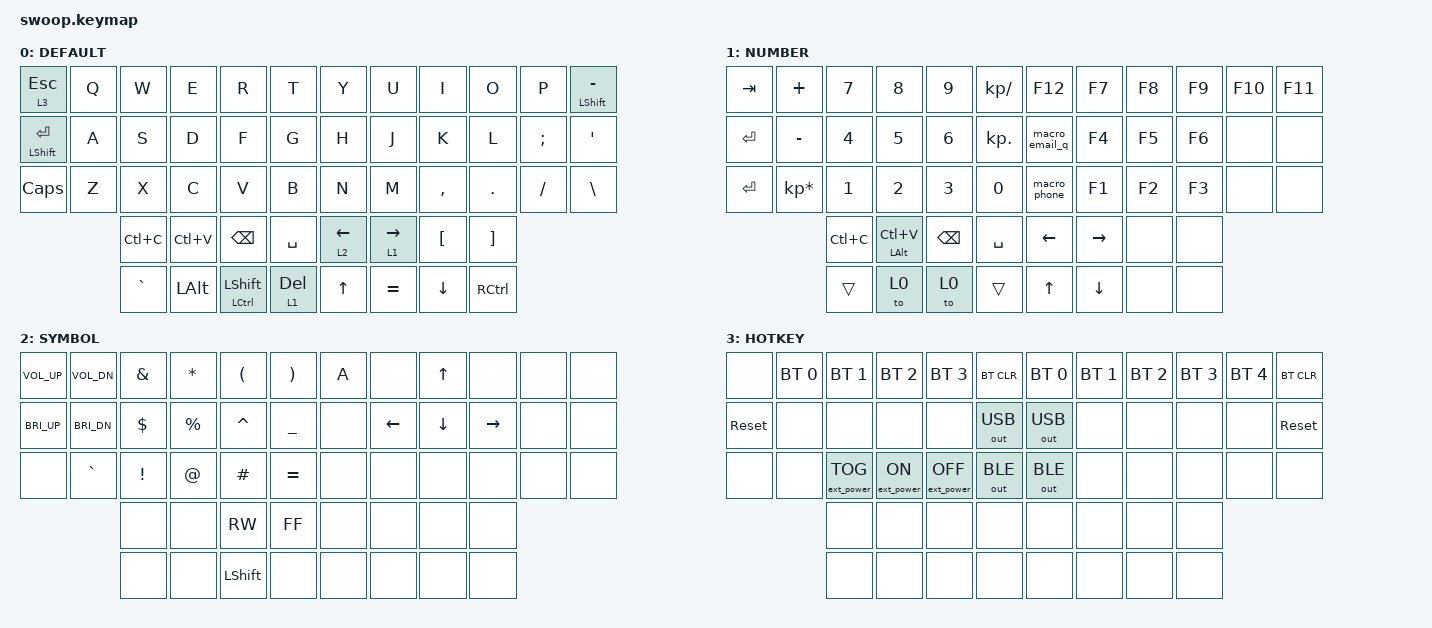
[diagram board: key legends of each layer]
#include <behaviors.dtsi>
#include <dt-bindings/zmk/bt.h>
#include <dt-bindings/zmk/ext_power.h>
#include <dt-bindings/zmk/keys.h>
#include <dt-bindings/zmk/outputs.h>

#define DEFAULT 0
#define NUMBER  1
#define SYMBOL  2
#define HOTKEY  3

#define AS(keycode) &as LS(keycode) keycode

/ {
    behaviors {
        td0: tap_dance_0 {
            compatible = "zmk,behavior-tap-dance";
            label = "TAP_DANCE_0";
            #binding-cells = <0>;
            tapping-term-ms = <200>;
            bindings = <&kp ESC>, <&kp TAB>;
        };
    };

    behaviors {
        as: auto_shift {
            compatible = "zmk,behavior-hold-tap";
            label = "AUTO_SHIFT";
            #binding-cells = <2>;
            tapping-term-ms = <200>;
            quick-tap-ms = <0>;
            flavor = "tap-preferred";
            bindings = <&kp>, <&kp>;
        };

        modcp: mod_copy {
            compatible = "zmk,behavior-mod-morph";
            label = "MOD_COPY";
            #binding-cells = <0>;
            bindings = <&as LS(C) C>, <&kp C>;

            mods = <(LGUI | RGUI)>;
        };
    };

    macros {
        macro_phone: macro_phone {
            // 1351

            label = "MACRO_PHONE";
            compatible = "zmk,behavior-macro";
            #binding-cells = <0>;
            bindings = <&kp N1 &kp N3 &kp N5 &kp N1>;
        };

        macro_email_q: macro_email_q {
            // 2894512440@qq.com

            label = "MACRO_EMAIL_QQ";
            compatible = "zmk,behavior-macro";
            #binding-cells = <0>;
            bindings = <&kp N2 &kp N8 &kp N9 &kp N4 &kp N5 &kp N1 &kp N2 &kp N4 &kp N4 &kp N0 &kp AT &kp Q &kp Q &kp DOT &kp C &kp O &kp M>;
        };

        macro_email_g: macro_email_g {
            // 135115

            compatible = "zmk,behavior-macro";
            label = "MACRO_EMAIL_GMAIL";
            #binding-cells = <0>;
            bindings = <&kp N1 &kp N3 &kp N5 &kp N1 &kp N1 &kp N5>;
        };
    };

    combos {
        compatible = "zmk,combos";

        combo_00 {
            timeout-ms = <50>;
            key-positions = <>;
            bindings = <&kp  LSHFT>;
        };

        combo_11 {
            timeout-ms = <40>;
            key-positions = <>;
            bindings = <&mo 2>;
        };

        combo_22 {
            timeout-ms = <50>;
            key-positions = <>;
            bindings = <&kp EXCL>;
        };

        combo_33 {
            timeout-ms = <50>;
            key-positions = <>;
            bindings = <&kp AT>;
        };

        combo_44 {
            timeout-ms = <50>;
            key-positions = <>;
            bindings = <&kp HASH>;
        };
    };

    keymap {
        compatible = "zmk,keymap";

        default_layer {
            label = "DEFAULT";
            bindings = <
&lt 3 ESC             &kp Q  &kp W      &kp E      &kp R            &kp T      &kp Y       &kp U        &kp I      &kp O      &kp P     &mt LEFT_SHIFT MINUS
&mt LEFT_SHIFT ENTER  &kp A  &kp S      &kp D      &kp F            &kp G      &kp H       &kp J        &kp K      &kp L      &kp SEMI  &kp SQT
&kp CAPS              &kp Z  &kp X      &kp C      &kp V            &kp B      &kp N       &kp M        &kp COMMA  &kp DOT    &kp FSLH  &kp BSLH
                             &kp LC(C)  &kp LC(V)  &kp BSPC         &kp SPACE  &lt 2 LEFT  &lt 1 RIGHT  &kp LBKT   &kp RBKT
                             &kp GRAVE  &kp LALT   &mt LCTRL LSHFT  &lt 1 DEL  &kp UP      &kp EQUAL    &kp DOWN   &kp RCTRL
            >;
        };

        number_layer {
            label = "NUMBER";
            bindings = <
&kp TAB    &kp PLUS         &kp N7     &kp N8          &kp N9    &kp KP_SLASH  &kp F12         &kp F7     &kp F8  &kp F9  &kp F10  &kp F11
&kp ENTER  &kp MINUS        &kp N4     &kp N5          &kp N6    &kp KP_DOT    &macro_email_q  &kp F4     &kp F5  &kp F6  &none    &none
&kp ENTER  &kp KP_MULTIPLY  &kp N1     &kp N2          &kp N3    &kp N0        &macro_phone    &kp F1     &kp F2  &kp F3  &none    &none
                            &kp LC(C)  &mt LALT LC(V)  &kp BSPC  &kp SPACE     &kp LEFT        &kp RIGHT  &none   &none
                            &trans     &to 0           &to 0     &trans        &kp UP          &kp DOWN   &none   &none
            >;
        };

        symbol_layer {
            label = "SYMBOL";
            bindings = <
&kp C_VOL_UP  &kp C_VOL_DN  &kp AMPS  &kp STAR   &kp LPAR   &kp RPAR   &kp A  &none     &kp UP    &none      &none  &none
&kp C_BRI_UP  &kp C_BRI_DN  &kp DLLR  &kp PRCNT  &kp CARET  &kp UNDER  &none  &kp LEFT  &kp DOWN  &kp RIGHT  &none  &none
&none         &kp GRAVE     &kp EXCL  &kp AT     &kp HASH   &kp EQUAL  &none  &none     &none     &none      &none  &none
                            &none     &none      &kp C_RW   &kp C_FF   &none  &none     &none     &none
                            &none     &none      &kp LSHFT  &none      &none  &none     &none     &none
            >;
        };

        hotkey_layer {
            label = "HOTKEY";
            bindings = <
&none       &bt BT_SEL 0  &bt BT_SEL 1       &bt BT_SEL 2      &bt BT_SEL 3       &bt BT_CLR    &bt BT_SEL 0  &bt BT_SEL 1  &bt BT_SEL 2  &bt BT_SEL 3  &bt BT_SEL 4  &bt BT_CLR
&sys_reset  &none         &none              &none             &none              &out OUT_USB  &out OUT_USB  &none         &none         &none         &none         &sys_reset
&none       &none         &ext_power EP_TOG  &ext_power EP_ON  &ext_power EP_OFF  &out OUT_BLE  &out OUT_BLE  &none         &none         &none         &none         &none
                          &none              &none             &none              &none         &none         &none         &none         &none
                          &none              &none             &none              &none         &none         &none         &none         &none
            >;
        };
    };
};
